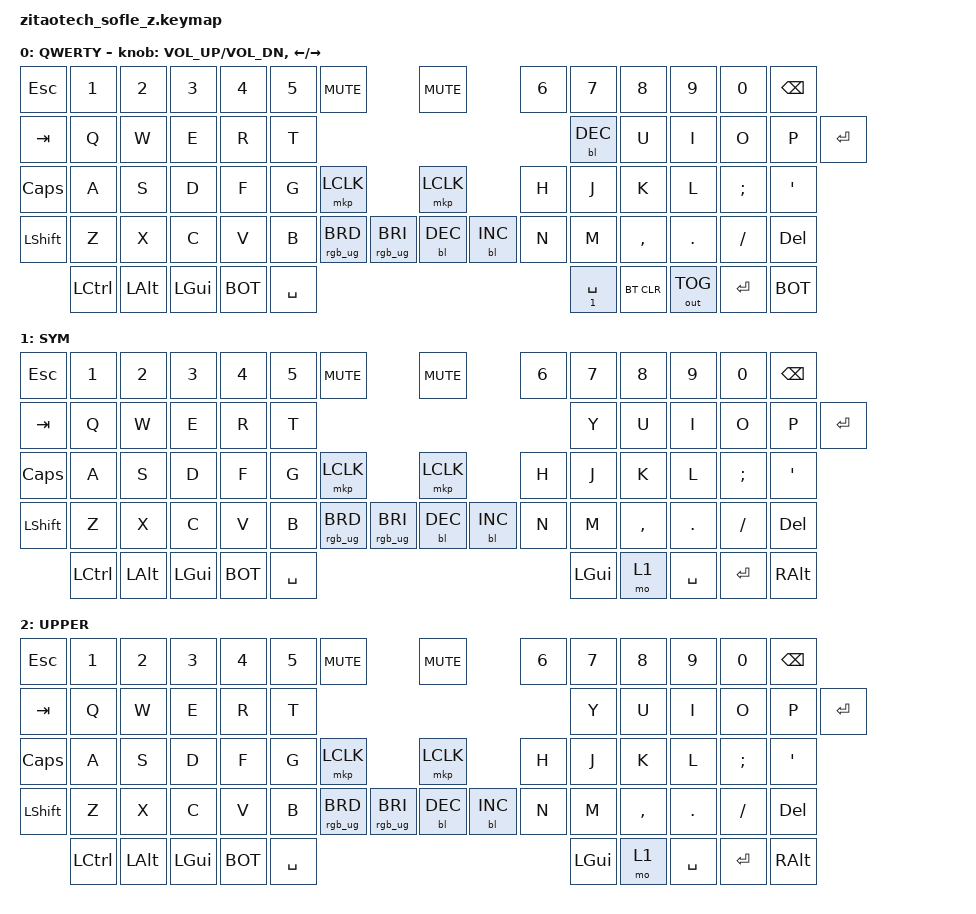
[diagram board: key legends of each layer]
/*
 * Copyright (c) 2025 ZitaoTech
 *
 * SPDX-License-Identifier: MIT
 */

#include <behaviors.dtsi>
#include <dt-bindings/zmk/keys.h>
#include <dt-bindings/zmk/bt.h>
#include <dt-bindings/zmk/outputs.h>
#include <dt-bindings/zmk/mouse.h>
#include <dt-bindings/zmk/backlight.h>
#include <dt-bindings/zmk/ext_power.h>
#include <dt-bindings/zmk/rgb.h>

#define SYM 1
#define UPPER 2
#define BOT bootloader

/ {
    behaviors {
        td0: tap_dance_0 {
            compatible = "zmk,behavior-tap-dance";
            #binding-cells = <0>;
            tapping-term-ms = <400>;
            bindings = <&mkp LCLK>, <&bt BT_CLR>;
        };
    };
    behaviors {
        hm: homerow_mods {
            compatible = "zmk,behavior-hold-tap";
            #binding-cells = <2>;
            tapping-term-ms = <500>;
            bindings = <&kp &kp>;
        };
    };

    behaviors {
         sp_sc: behavior_spacescroll {
           compatible = "zmk,behavior-hold-tap";
           #binding-cells = <2>;
           flavor = "hold-preferred";     /* 单击优先 */
           tapping-term-ms = <200>;       /* 长按阈值 */
           bindings = <&none &kp>;        /* hold=none, tap=space */
        };
    };

    keymap {
        compatible = "zmk,keymap";

         default_layer {
            display-name = "QWERTY";
// --------------------------------------------------------------------------------
// |  TAB |  Q  |  W  |  E  |  R  |  T  |   |  Y  |  U   |  I  |  O  |  P  | BSPC |
// | CTRL |  A  |  S  |  D  |  F  |  G  |   |  H  |  J   |  K  |  L  |  ;  |  '   |
// | SHFT |  Z  |  X  |  C  |  V  |  B  |   |  N  |  M   |  ,  |  .  |  /  | ESC  |
//                    | GUI | LWR | SPC |   | ENT | RSE  | ALT |
           bindings = <
&kp ESC   &kp N1    &kp N2     &kp N3   &kp N4   &kp N5  &kp C_MUTE                        &kp C_MUTE             &kp N6   &kp N7  &kp N8    &kp N9  &kp N0   &kp BSPC            
&kp TAB   &kp Q     &kp W      &kp E    &kp R    &kp T                                                            &bl BL_DEC    &kp U   &kp I     &kp O   &kp P    &kp ENTER
&kp CAPS  &kp A     &kp S      &kp D    &kp F    &kp G   &mkp LCLK                         &mkp LCLK              &kp H    &kp J   &kp K     &kp L   &kp SEMI &kp SQT
&kp LSHFT &kp Z     &kp X      &kp C    &kp V    &kp B   &rgb_ug RGB_BRD &rgb_ug RGB_BRI   &bl BL_DEC  &bl BL_INC &kp N    &kp M   &kp COMMA &kp DOT &kp FSLH &kp DEL
              &kp LCTRL    &kp LALT   &kp LGUI   &BOT    &kp SPACE                                 &sp_sc 1 SPACE        &bt BT_CLR    &out OUT_TOG  &kp RET  &BOT
           >;
           sensor-bindings = <&inc_dec_kp C_VOL_UP C_VOL_DN &inc_dec_kp LEFT RIGHT>;
        };


        sym_layer {
            display-name = "SYM";
            bindings = <
&kp ESC   &kp N1    &kp N2     &kp N3   &kp N4   &kp N5  &kp C_MUTE                        &kp C_MUTE             &kp N6   &kp N7  &kp N8    &kp N9  &kp N0   &kp BSPC            
&kp TAB   &kp Q     &kp W      &kp E    &kp R    &kp T                                                            &kp Y    &kp U   &kp I     &kp O   &kp P    &kp ENTER
&kp CAPS  &kp A     &kp S      &kp D    &kp F    &kp G   &mkp LCLK                         &mkp LCLK              &kp H    &kp J   &kp K     &kp L   &kp SEMI &kp SQT
&kp LSHFT &kp Z     &kp X      &kp C    &kp V    &kp B   &rgb_ug RGB_BRD &rgb_ug RGB_BRI   &bl BL_DEC  &bl BL_INC &kp N    &kp M   &kp COMMA &kp DOT &kp FSLH &kp DEL
              &kp LCTRL    &kp LALT   &kp LGUI    &BOT   &kp SPACE                                     &kp LGUI   &mo 1    &kp SPACE  &kp RET  &kp RALT
            >;
        };

        upper_layer {
            display-name = "UPPER";
            bindings = <
&kp ESC   &kp N1    &kp N2     &kp N3   &kp N4   &kp N5  &kp C_MUTE                        &kp C_MUTE             &kp N6   &kp N7  &kp N8    &kp N9  &kp N0   &kp BSPC            
&kp TAB   &kp Q     &kp W      &kp E    &kp R    &kp T                                                            &kp Y    &kp U   &kp I     &kp O   &kp P    &kp ENTER
&kp CAPS  &kp A     &kp S      &kp D    &kp F    &kp G   &mkp LCLK                         &mkp LCLK              &kp H    &kp J   &kp K     &kp L   &kp SEMI &kp SQT
&kp LSHFT &kp Z     &kp X      &kp C    &kp V    &kp B   &rgb_ug RGB_BRD &rgb_ug RGB_BRI   &bl BL_DEC  &bl BL_INC &kp N    &kp M   &kp COMMA &kp DOT &kp FSLH &kp DEL
              &kp LCTRL    &kp LALT   &kp LGUI    &BOT   &kp SPACE                                     &kp LGUI   &mo 1    &kp SPACE  &kp RET  &kp RALT
            >;
        };
    };
};
